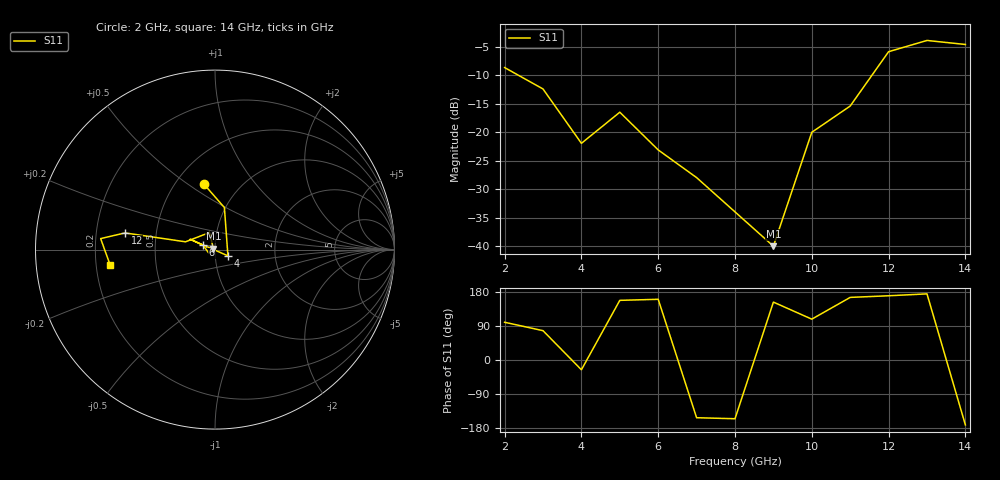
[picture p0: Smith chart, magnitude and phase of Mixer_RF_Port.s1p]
# GHz S MA R 50
! Frequency(GHz) Mag  Angle
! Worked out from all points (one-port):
!   13 points, 2 GHz to 14 GHz, reference 50 ohm
!   lowest |S11| = -40.0 dB at 9 GHz (marker M1), VSWR 1.02, Z = 49.1 + j0.449 ohm
!   |S11| at or under -10 dB: 2.363 GHz to 11.56 GHz (9.202 GHz wide, 132 % of centre)
!   S11 on the Smith chart (normalised r, x): 2 GHz: 0.68, +0.58; 4 GHz: 1.15, -0.08; 6 GHz: 0.88, +0.04; 12 GHz: 0.33, +0.08; 14 GHz: 0.26, -0.07
2  0.37 99.6
3  0.24 77.4
4  0.08 -25.8
5  0.15 157.4
6  0.07 160.2
7  0.04 -152.3
8  0.02 -155.0
9  0.01 152.8
10  0.1 107.8
11  0.17 165.2
12  0.51 169.5
13  0.64 174.5
14  0.59 -171.4
